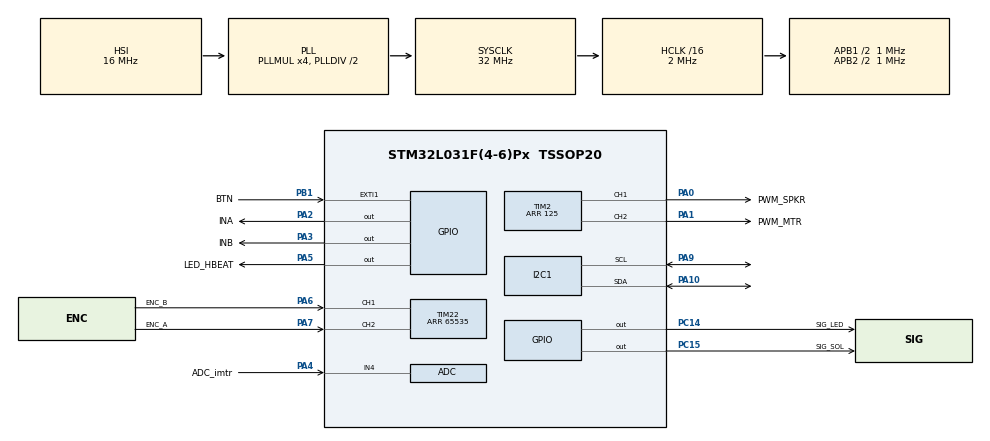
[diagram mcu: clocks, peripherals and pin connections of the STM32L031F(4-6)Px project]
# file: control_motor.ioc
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I2C1.Timing=0x00000103
Mcu.Family=STM32L0
Mcu.Name=STM32L031F(4-6)Px
Mcu.Package=TSSOP20
NVIC.EXTI0_1_IRQn=true\:0\:0\:false\:false\:true\:true\:true
NVIC.TIM21_IRQn=true\:0\:0\:false\:false\:true\:true\:true
PA0-CK_IN.GPIO_Label=PWM_SPKR
PA0-CK_IN.Signal=S_TIM2_CH1
PA1.GPIO_Label=PWM_MTR
PA1.Signal=S_TIM2_CH2
PA10.Mode=I2C
PA10.Signal=I2C1_SDA
PA13.Mode=Serial_Wire
PA13.Signal=SYS_SWDIO
PA14.Mode=Serial_Wire
PA14.Signal=SYS_SWCLK
PA2.GPIO_Label=INA
PA2.GPIO_Speed=GPIO_SPEED_FREQ_LOW
PA2.Signal=GPIO_Output
PA3.GPIO_Label=INB
PA3.Signal=GPIO_Output
PA4.GPIO_Label=ADC_imtr
PA4.Mode=IN4
PA4.Signal=ADC_IN4
PA5.GPIO_Label=LED_HBEAT
PA5.GPIO_ModeDefaultOutputPP=GPIO_MODE_OUTPUT_OD
PA5.GPIO_PuPd=GPIO_PULLUP
PA5.Signal=GPIO_Output
PA6.GPIO_Label=ENC_B
PA6.Signal=S_TIM22_CH1
PA7.GPIO_Label=ENC_A
PA7.Signal=S_TIM22_CH2
PA9.Mode=I2C
PA9.Signal=I2C1_SCL
PB1.GPIO_Label=BTN
PB1.GPIO_ModeDefaultEXTI=GPIO_MODE_IT_RISING
PB1.GPIO_PuPd=GPIO_PULLDOWN
PB1.Signal=GPXTI1
PC14-OSC32_IN.GPIO_Label=SIG_LED
PC14-OSC32_IN.GPIO_ModeDefaultOutputPP=GPIO_MODE_OUTPUT_OD
PC14-OSC32_IN.GPIO_PuPd=GPIO_PULLUP
PC14-OSC32_IN.Signal=GPIO_Output
PC15-OSC32_OUT.GPIO_Label=SIG_SOL
PC15-OSC32_OUT.GPIO_ModeDefaultOutputPP=GPIO_MODE_OUTPUT_OD
PC15-OSC32_OUT.GPIO_PuPd=GPIO_PULLUP
PC15-OSC32_OUT.Signal=GPIO_Output
ProjectManager.HeapSize=0x200
ProjectManager.StackSize=0x400
ProjectManager.TargetToolchain=STM32CubeIDE
RCC.AHBCLKDivider=RCC_SYSCLK_DIV16
RCC.AHBFreq_Value=2000000
RCC.APB1CLKDivider=RCC_HCLK_DIV2
RCC.APB1Freq_Value=1000000
RCC.APB1TimFreq_Value=2000000
RCC.APB2CLKDivider=RCC_HCLK_DIV2
RCC.APB2Freq_Value=1000000
RCC.APB2TimFreq_Value=2000000
RCC.HCLKFreq_Value=2000000
RCC.HSE_VALUE=8000000
RCC.HSI16_VALUE=16000000
RCC.HSI_VALUE=16000000
RCC.LSE_VALUE=32768
RCC.MSI_VALUE=2097000
RCC.PLLMUL=RCC_PLLMUL_4
RCC.SYSCLKFreq_VALUE=32000000
RCC.SYSCLKSource=RCC_SYSCLKSOURCE_PLLCLK
RCC.VCOOutputFreq_Value=64000000
SH.S_TIM22_CH1.0=TIM22_CH1,Encoder_Interface
SH.S_TIM22_CH2.0=TIM22_CH2,Encoder_Interface
SH.S_TIM2_CH1.0=TIM2_CH1,PWM Generation1 CH1
SH.S_TIM2_CH2.0=TIM2_CH2,PWM Generation2 CH2
TIM2.AutoReloadPreload=TIM_AUTORELOAD_PRELOAD_ENABLE
TIM2.Channel-PWM\ Generation1\ CH1=TIM_CHANNEL_1
TIM2.Channel-PWM\ Generation2\ CH2=TIM_CHANNEL_2
TIM2.ClockDivision=TIM_CLOCKDIVISION_DIV4
TIM2.CounterMode=TIM_COUNTERMODE_UP
TIM2.OC1Preload_PWM=ENABLE
TIM2.OC2Preload_PWM=DISABLE
TIM2.OCFastMode_PWM-PWM\ Generation2\ CH2=TIM_OCFAST_ENABLE
TIM2.OCMode_PWM-PWM\ Generation2\ CH2=TIM_OCMODE_PWM1
TIM2.Period=125
TIM2.Pulse-PWM\ Generation1\ CH1=0
TIM2.Pulse-PWM\ Generation2\ CH2=100
TIM21.AutoReloadPreload=TIM_AUTORELOAD_PRELOAD_ENABLE
TIM21.ClockDivision=TIM_CLOCKDIVISION_DIV2
TIM21.Period=1000
TIM21.TIM_MasterOutputTrigger=TIM_TRGO_RESET
TIM22.AutoReloadPreload=TIM_AUTORELOAD_PRELOAD_ENABLE
TIM22.ClockDivision=TIM_CLOCKDIVISION_DIV1
TIM22.EncoderMode=TIM_ENCODERMODE_TI1
TIM22.IC1Filter=2
TIM22.IC1Polarity=TIM_ICPOLARITY_FALLING
TIM22.IC1Prescaler=TIM_ICPSC_DIV1
TIM22.IC2Filter=2
TIM22.IC2Polarity=TIM_ICPOLARITY_FALLING
TIM22.IC2Prescaler=TIM_ICPSC_DIV1
TIM22.Period=65535
VP_TIM21_VS_ClockSourceINT.Mode=Internal
VP_TIM2_VS_ClockSourceINT.Mode=Internal
board=custom

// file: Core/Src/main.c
/* USER CODE BEGIN Header */
/**
  ******************************************************************************
  * @file           : main.c
  * @brief          : Main program body
  ******************************************************************************
  * @attention
  *
  * <h2><center>&copy; Copyright (c) 2021 STMicroelectronics.
  * All rights reserved.</center></h2>
  *
  * This software component is licensed by ST under BSD 3-Clause license,
  * the "License"; You may not use this file except in compliance with the
  * License. You may obtain a copy of the License at:
  *                        opensource.org/licenses/BSD-3-Clause
  *
  ******************************************************************************
  */
/* USER CODE END Header */

#include "main.h"

/* USER CODE BEGIN Includes */
#include "hardware.h"
#include "hardware.c"
/* USER CODE END Includes */

/* USER CODE BEGIN PD */
#define NUMTICKS 2000
/* USER CODE END PD */

ADC_HandleTypeDef hadc;

I2C_HandleTypeDef hi2c1;

TIM_HandleTypeDef htim2;
TIM_HandleTypeDef htim21;
TIM_HandleTypeDef htim22;

void SystemClock_Config(void);
static void MX_GPIO_Init(void);
static void MX_I2C1_Init(void);
static void MX_ADC_Init(void);
static void MX_TIM2_Init(void);
static void MX_TIM22_Init(void);
static void MX_TIM21_Init(void);

int main(void)
{
  __disable_irq();

  /* MCU Configuration--------------------------------------------------------*/

  /* Reset of all peripherals, Initializes the Flash interface and the Systick. */
  HAL_Init();

  /* USER CODE BEGIN Init */
  // Configure Ticks Counter
  HAL_SetTickFreq(HAL_TICK_FREQ_1KHZ);
  const uint16_t ticksPerSec = 1000;
  uint32_t ticks_HBEAT = (uint32_t) (T_HBEAT*ticksPerSec);
  uint32_t nextTick_HBEAT = 0;
  /* USER CODE END Init */

  /* Configure the system clock */
  SystemClock_Config();

  /* Initialize all configured peripherals */
  MX_GPIO_Init();
  MX_I2C1_Init();
  MX_ADC_Init();
  MX_TIM2_Init();
  MX_TIM22_Init();
  MX_TIM21_Init();

  /* Infinite loop */
  /* USER CODE BEGIN WHILE */
  HAL_TIM_Encoder_Start(&htim22,TIM_CHANNEL_ALL);
  __HAL_TIM_ENABLE_IT(&htim21, TIM_IT_UPDATE);
  TIM2->CCR2 = 0;
  __enable_irq();
  HAL_TIM_PWM_Start(&htim2,TIM_CHANNEL_2);  // after logging IRQ to catch startup
  while (1) {
    /* USER CODE END WHILE */

  }
}

void SystemClock_Config(void)
{
  RCC_OscInitTypeDef RCC_OscInitStruct = {0};
  RCC_ClkInitTypeDef RCC_ClkInitStruct = {0};
  RCC_PeriphCLKInitTypeDef PeriphClkInit = {0};

  /** Configure the main internal regulator output voltage
  */
  __HAL_PWR_VOLTAGESCALING_CONFIG(PWR_REGULATOR_VOLTAGE_SCALE1);
  /** Initializes the CPU, AHB and APB busses clocks
  */
  RCC_OscInitStruct.OscillatorType = RCC_OSCILLATORTYPE_HSI;
  RCC_OscInitStruct.HSIState = RCC_HSI_ON;
  RCC_OscInitStruct.HSICalibrationValue = RCC_HSICALIBRATION_DEFAULT;
  RCC_OscInitStruct.PLL.PLLState = RCC_PLL_ON;
  RCC_OscInitStruct.PLL.PLLSource = RCC_PLLSOURCE_HSI;
  RCC_OscInitStruct.PLL.PLLMUL = RCC_PLLMUL_4;
  RCC_OscInitStruct.PLL.PLLDIV = RCC_PLLDIV_2;
  if (HAL_RCC_OscConfig(&RCC_OscInitStruct) != HAL_OK)
  {
    Error_Handler();
  }
  /** Initializes the CPU, AHB and APB busses clocks
  */
  RCC_ClkInitStruct.ClockType = RCC_CLOCKTYPE_HCLK|RCC_CLOCKTYPE_SYSCLK
                              |RCC_CLOCKTYPE_PCLK1|RCC_CLOCKTYPE_PCLK2;
  RCC_ClkInitStruct.SYSCLKSource = RCC_SYSCLKSOURCE_PLLCLK;
  RCC_ClkInitStruct.AHBCLKDivider = RCC_SYSCLK_DIV16;
  RCC_ClkInitStruct.APB1CLKDivider = RCC_HCLK_DIV2;
  RCC_ClkInitStruct.APB2CLKDivider = RCC_HCLK_DIV2;

  if (HAL_RCC_ClockConfig(&RCC_ClkInitStruct, FLASH_LATENCY_0) != HAL_OK)
  {
    Error_Handler();
  }
  PeriphClkInit.PeriphClockSelection = RCC_PERIPHCLK_I2C1;
  PeriphClkInit.I2c1ClockSelection = RCC_I2C1CLKSOURCE_PCLK1;
  if (HAL_RCCEx_PeriphCLKConfig(&PeriphClkInit) != HAL_OK)
  {
    Error_Handler();
  }
}

static void MX_ADC_Init(void)
{

  ADC_ChannelConfTypeDef sConfig = {0};

  /** Configure the global features of the ADC (Clock, Resolution, Data Alignment and number of conversion)
  */
  hadc.Instance = ADC1;
  hadc.Init.OversamplingMode = DISABLE;
  hadc.Init.ClockPrescaler = ADC_CLOCK_SYNC_PCLK_DIV2;
  hadc.Init.Resolution = ADC_RESOLUTION_12B;
  hadc.Init.SamplingTime = ADC_SAMPLETIME_1CYCLE_5;
  hadc.Init.ScanConvMode = ADC_SCAN_DIRECTION_FORWARD;
  hadc.Init.DataAlign = ADC_DATAALIGN_RIGHT;
  hadc.Init.ContinuousConvMode = DISABLE;
  hadc.Init.DiscontinuousConvMode = DISABLE;
  hadc.Init.ExternalTrigConvEdge = ADC_EXTERNALTRIGCONVEDGE_NONE;
  hadc.Init.ExternalTrigConv = ADC_SOFTWARE_START;
  hadc.Init.DMAContinuousRequests = DISABLE;
  hadc.Init.EOCSelection = ADC_EOC_SINGLE_CONV;
  hadc.Init.Overrun = ADC_OVR_DATA_PRESERVED;
  hadc.Init.LowPowerAutoWait = DISABLE;
  hadc.Init.LowPowerFrequencyMode = DISABLE;
  hadc.Init.LowPowerAutoPowerOff = DISABLE;
  if (HAL_ADC_Init(&hadc) != HAL_OK)
  {
    Error_Handler();
  }
  /** Configure for the selected ADC regular channel to be converted.
  */
  sConfig.Channel = ADC_CHANNEL_4;
  sConfig.Rank = ADC_RANK_CHANNEL_NUMBER;
  if (HAL_ADC_ConfigChannel(&hadc, &sConfig) != HAL_OK)
  {
    Error_Handler();
  }

}

static void MX_I2C1_Init(void)
{

  hi2c1.Instance = I2C1;
  hi2c1.Init.Timing = 0x00000103;
  hi2c1.Init.OwnAddress1 = 0;
  hi2c1.Init.AddressingMode = I2C_ADDRESSINGMODE_7BIT;
  hi2c1.Init.DualAddressMode = I2C_DUALADDRESS_DISABLE;
  hi2c1.Init.OwnAddress2 = 0;
  hi2c1.Init.OwnAddress2Masks = I2C_OA2_NOMASK;
  hi2c1.Init.GeneralCallMode = I2C_GENERALCALL_DISABLE;
  hi2c1.Init.NoStretchMode = I2C_NOSTRETCH_DISABLE;
  if (HAL_I2C_Init(&hi2c1) != HAL_OK)
  {
    Error_Handler();
  }
  /** Configure Analogue filter
  */
  if (HAL_I2CEx_ConfigAnalogFilter(&hi2c1, I2C_ANALOGFILTER_ENABLE) != HAL_OK)
  {
    Error_Handler();
  }
  /** Configure Digital filter
  */
  if (HAL_I2CEx_ConfigDigitalFilter(&hi2c1, 0) != HAL_OK)
  {
    Error_Handler();
  }

}

static void MX_TIM2_Init(void)
{

  TIM_ClockConfigTypeDef sClockSourceConfig = {0};
  TIM_MasterConfigTypeDef sMasterConfig = {0};
  TIM_OC_InitTypeDef sConfigOC = {0};

  htim2.Instance = TIM2;
  htim2.Init.Prescaler = 0;
  htim2.Init.CounterMode = TIM_COUNTERMODE_UP;
  htim2.Init.Period = 125;
  htim2.Init.ClockDivision = TIM_CLOCKDIVISION_DIV4;
  htim2.Init.AutoReloadPreload = TIM_AUTORELOAD_PRELOAD_ENABLE;
  if (HAL_TIM_Base_Init(&htim2) != HAL_OK)
  {
    Error_Handler();
  }
  sClockSourceConfig.ClockSource = TIM_CLOCKSOURCE_INTERNAL;
  if (HAL_TIM_ConfigClockSource(&htim2, &sClockSourceConfig) != HAL_OK)
  {
    Error_Handler();
  }
  if (HAL_TIM_PWM_Init(&htim2) != HAL_OK)
  {
    Error_Handler();
  }
  sMasterConfig.MasterOutputTrigger = TIM_TRGO_RESET;
  sMasterConfig.MasterSlaveMode = TIM_MASTERSLAVEMODE_DISABLE;
  if (HAL_TIMEx_MasterConfigSynchronization(&htim2, &sMasterConfig) != HAL_OK)
  {
    Error_Handler();
  }
  sConfigOC.OCMode = TIM_OCMODE_PWM1;
  sConfigOC.Pulse = 0;
  sConfigOC.OCPolarity = TIM_OCPOLARITY_HIGH;
  sConfigOC.OCFastMode = TIM_OCFAST_DISABLE;
  if (HAL_TIM_PWM_ConfigChannel(&htim2, &sConfigOC, TIM_CHANNEL_1) != HAL_OK)
  {
    Error_Handler();
  }
  sConfigOC.Pulse = 100;
  sConfigOC.OCFastMode = TIM_OCFAST_ENABLE;
  if (HAL_TIM_PWM_ConfigChannel(&htim2, &sConfigOC, TIM_CHANNEL_2) != HAL_OK)
  {
    Error_Handler();
  }
  __HAL_TIM_DISABLE_OCxPRELOAD(&htim2, TIM_CHANNEL_2);
  HAL_TIM_MspPostInit(&htim2);

}

static void MX_TIM21_Init(void)
{

  TIM_ClockConfigTypeDef sClockSourceConfig = {0};
  TIM_MasterConfigTypeDef sMasterConfig = {0};

  htim21.Instance = TIM21;
  htim21.Init.Prescaler = 0;
  htim21.Init.CounterMode = TIM_COUNTERMODE_UP;
  htim21.Init.Period = 1000;
  htim21.Init.ClockDivision = TIM_CLOCKDIVISION_DIV2;
  htim21.Init.AutoReloadPreload = TIM_AUTORELOAD_PRELOAD_ENABLE;
  if (HAL_TIM_Base_Init(&htim21) != HAL_OK)
  {
    Error_Handler();
  }
  sClockSourceConfig.ClockSource = TIM_CLOCKSOURCE_INTERNAL;
  if (HAL_TIM_ConfigClockSource(&htim21, &sClockSourceConfig) != HAL_OK)
  {
    Error_Handler();
  }
  sMasterConfig.MasterOutputTrigger = TIM_TRGO_RESET;
  sMasterConfig.MasterSlaveMode = TIM_MASTERSLAVEMODE_DISABLE;
  if (HAL_TIMEx_MasterConfigSynchronization(&htim21, &sMasterConfig) != HAL_OK)
  {
    Error_Handler();
  }

}

static void MX_TIM22_Init(void)
{

  TIM_Encoder_InitTypeDef sConfig = {0};
  TIM_MasterConfigTypeDef sMasterConfig = {0};

  htim22.Instance = TIM22;
  htim22.Init.Prescaler = 0;
  htim22.Init.CounterMode = TIM_COUNTERMODE_UP;
  htim22.Init.Period = 65535;
  htim22.Init.ClockDivision = TIM_CLOCKDIVISION_DIV1;
  htim22.Init.AutoReloadPreload = TIM_AUTORELOAD_PRELOAD_ENABLE;
  sConfig.EncoderMode = TIM_ENCODERMODE_TI1;
  sConfig.IC1Polarity = TIM_ICPOLARITY_FALLING;
  sConfig.IC1Selection = TIM_ICSELECTION_DIRECTTI;
  sConfig.IC1Prescaler = TIM_ICPSC_DIV1;
  sConfig.IC1Filter = 2;
  sConfig.IC2Polarity = TIM_ICPOLARITY_FALLING;
  sConfig.IC2Selection = TIM_ICSELECTION_DIRECTTI;
  sConfig.IC2Prescaler = TIM_ICPSC_DIV1;
  sConfig.IC2Filter = 2;
  if (HAL_TIM_Encoder_Init(&htim22, &sConfig) != HAL_OK)
  {
    Error_Handler();
  }
  sMasterConfig.MasterOutputTrigger = TIM_TRGO_RESET;
  sMasterConfig.MasterSlaveMode = TIM_MASTERSLAVEMODE_DISABLE;
  if (HAL_TIMEx_MasterConfigSynchronization(&htim22, &sMasterConfig) != HAL_OK)
  {
    Error_Handler();
  }

}

static void MX_GPIO_Init(void)
{
  GPIO_InitTypeDef GPIO_InitStruct = {0};

  /* GPIO Ports Clock Enable */
  __HAL_RCC_GPIOC_CLK_ENABLE();
  __HAL_RCC_GPIOA_CLK_ENABLE();
  __HAL_RCC_GPIOB_CLK_ENABLE();

  /*Configure GPIO pin Output Level */
  HAL_GPIO_WritePin(GPIOC, SIG_LED_Pin|SIG_SOL_Pin, GPIO_PIN_RESET);

  /*Configure GPIO pin Output Level */
  HAL_GPIO_WritePin(GPIOA, INA_Pin|INB_Pin|LED_HBEAT_Pin, GPIO_PIN_RESET);

  /*Configure GPIO pins : SIG_LED_Pin SIG_SOL_Pin */
  GPIO_InitStruct.Pin = SIG_LED_Pin|SIG_SOL_Pin;
  GPIO_InitStruct.Mode = GPIO_MODE_OUTPUT_OD;
  GPIO_InitStruct.Pull = GPIO_PULLUP;
  GPIO_InitStruct.Speed = GPIO_SPEED_FREQ_LOW;
  HAL_GPIO_Init(GPIOC, &GPIO_InitStruct);

  /*Configure GPIO pins : INA_Pin INB_Pin */
  GPIO_InitStruct.Pin = INA_Pin|INB_Pin;
  GPIO_InitStruct.Mode = GPIO_MODE_OUTPUT_PP;
  GPIO_InitStruct.Pull = GPIO_NOPULL;
  GPIO_InitStruct.Speed = GPIO_SPEED_FREQ_LOW;
  HAL_GPIO_Init(GPIOA, &GPIO_InitStruct);

  /*Configure GPIO pin : LED_HBEAT_Pin */
  GPIO_InitStruct.Pin = LED_HBEAT_Pin;
  GPIO_InitStruct.Mode = GPIO_MODE_OUTPUT_OD;
  GPIO_InitStruct.Pull = GPIO_PULLUP;
  GPIO_InitStruct.Speed = GPIO_SPEED_FREQ_LOW;
  HAL_GPIO_Init(LED_HBEAT_GPIO_Port, &GPIO_InitStruct);

  /*Configure GPIO pin : BTN_Pin */
  GPIO_InitStruct.Pin = BTN_Pin;
  GPIO_InitStruct.Mode = GPIO_MODE_IT_RISING;
  GPIO_InitStruct.Pull = GPIO_PULLDOWN;
  HAL_GPIO_Init(BTN_GPIO_Port, &GPIO_InitStruct);

  /* EXTI interrupt init*/
  HAL_NVIC_SetPriority(EXTI0_1_IRQn, 0, 0);
  HAL_NVIC_EnableIRQ(EXTI0_1_IRQn);

}

/* USER CODE BEGIN 4 */
/**
 * @brief Motor control timer htim21
 */
void HAL_TIM_PeriodElapsedCallback(TIM_HandleTypeDef *htim)
{
  __disable_irq();
  if (htim==&htim21) {
//    MtrCtl(CtlLaw(TIM22->CNT));
    Ctl();
  }
  __enable_irq();
}

/* USER CODE END 4 */

void Error_Handler(void)
{
  /* USER CODE BEGIN Error_Handler_Debug */
  /* User can add his own implementation to report the HAL error return state */
  __disable_irq();
  HAL_GPIO_WritePin(LED_HBEAT_GPIO_Port, LED_HBEAT_Pin, GPIO_PIN_RESET);
  HAL_TIM_PWM_Stop(&htim2,TIM_CHANNEL_ALL);
  while (1) {
    HAL_GPIO_WritePin(LED_HBEAT_GPIO_Port, LED_HBEAT_Pin, GPIO_PIN_SET);
    HAL_GPIO_WritePin(SIG_LED_GPIO_Port, SIG_SOL_Pin, GPIO_PIN_RESET);
    HAL_GPIO_WritePin(PWM_SPKR_GPIO_Port, PWM_SPKR_Pin, GPIO_PIN_RESET);
    HAL_GPIO_WritePin(PWM_MTR_GPIO_Port, PWM_MTR_Pin, GPIO_PIN_RESET);
    HAL_GPIO_WritePin(INA_GPIO_Port, INA_Pin, GPIO_PIN_RESET);
    HAL_GPIO_WritePin(INB_GPIO_Port, INB_Pin, GPIO_PIN_RESET);
  }
  /* USER CODE END Error_Handler_Debug */
}

/************************ (C) COPYRIGHT STMicroelectronics *****END OF FILE****/
